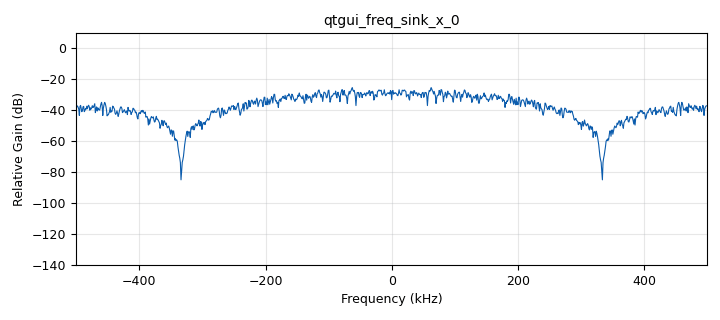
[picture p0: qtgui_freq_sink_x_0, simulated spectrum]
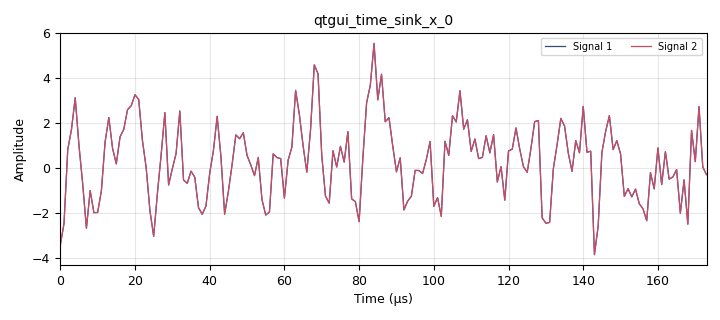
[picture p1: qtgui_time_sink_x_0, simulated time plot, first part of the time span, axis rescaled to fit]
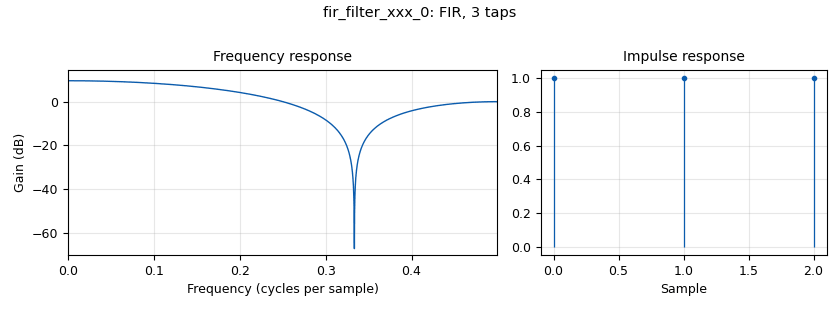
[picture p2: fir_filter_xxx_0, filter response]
options:
  parameters:
    author: jkita
    generate_options: qt_gui
    id: lesson6
    output_language: python
    title: Not titled yet
  states: {}

blocks:
- name: center_freq
  id: variable
  parameters:
    value: 433.96e6
  states: {state: disabled}
- name: cutoff
  id: variable_qtgui_range
  parameters:
    min_len: '1000'
    start: samp_rate/1000
    step: '1'
    stop: samp_rate/2
    value: samp_rate/8
  states: {state: disabled}
- name: samp_rate
  id: variable
  parameters:
    value: 1e6
  states: {}
- name: tap0
  id: variable_qtgui_range
  parameters:
    min_len: '1000'
    start: '-1'
    step: '0.01'
    stop: '1'
    value: '1'
  states: {}
- name: tap1
  id: variable_qtgui_range
  parameters:
    min_len: '1000'
    start: '-1'
    step: '0.01'
    stop: '1'
    value: '1'
  states: {}
- name: tap2
  id: variable_qtgui_range
  parameters:
    min_len: '1000'
    start: '-1'
    step: '0.01'
    stop: '1'
    value: '1'
  states: {}
- name: transision
  id: variable_qtgui_range
  parameters:
    min_len: '1000'
    start: samp_rate/1000
    step: '1'
    stop: samp_rate/2
    value: samp_rate/8
  states: {state: disabled}
- name: analog_noise_source_x_0
  id: analog_noise_source_x
  parameters:
    amp: '1'
    noise_type: analog.GR_GAUSSIAN
    seed: '0'
    type: float
  states: {}
- name: blocks_add_xx_0
  id: blocks_add_xx
  parameters:
    num_inputs: '3'
    type: float
  states: {}
- name: blocks_delay_0
  id: blocks_delay
  parameters:
    delay: '1'
    type: float
  states: {}
- name: blocks_delay_0_0
  id: blocks_delay
  parameters:
    delay: '2'
    type: float
  states: {}
- name: blocks_multiply_const_vxx_0
  id: blocks_multiply_const_vxx
  parameters:
    const: tap0
    type: float
  states: {}
- name: blocks_multiply_const_vxx_0_0
  id: blocks_multiply_const_vxx
  parameters:
    const: tap1
    type: float
  states: {}
- name: blocks_multiply_const_vxx_0_1
  id: blocks_multiply_const_vxx
  parameters:
    const: tap2
    type: float
  states: {}
- name: blocks_throttle_0
  id: blocks_throttle
  parameters:
    samples_per_second: samp_rate
    type: float
  states: {}
- name: fir_filter_xxx_0
  id: fir_filter_xxx
  parameters:
    decim: '1'
    taps: (tap0, tap1, tap2)
    type: fff
  states: {}
- name: low_pass_filter_0
  id: low_pass_filter
  parameters:
    cutoff_freq: cutoff
    decim: '1'
    gain: '1'
    samp_rate: samp_rate
    type: fir_filter_ccf
    width: transision
    win: window.WIN_HAMMING
  states: {state: disabled}
- name: qtgui_freq_sink_x_0
  id: qtgui_freq_sink_x
  parameters:
    average: '0.2'
    bw: samp_rate
    ctrlpanel: 'True'
    fc: '0'
    fftsize: '1024'
    grid: 'True'
    type: float
  states: {}
- name: qtgui_time_sink_x_0
  id: qtgui_time_sink_x
  parameters:
    ctrlpanel: 'True'
    grid: 'True'
    nconnections: '2'
    size: '1024'
    srate: samp_rate
    type: float
  states: {}

connections:
- [analog_noise_source_x_0, '0', blocks_throttle_0, '0']
- [blocks_add_xx_0, '0', qtgui_freq_sink_x_0, '0']
- [blocks_add_xx_0, '0', qtgui_time_sink_x_0, '0']
- [blocks_delay_0, '0', blocks_multiply_const_vxx_0_0, '0']
- [blocks_delay_0_0, '0', blocks_multiply_const_vxx_0_1, '0']
- [blocks_multiply_const_vxx_0, '0', blocks_add_xx_0, '0']
- [blocks_multiply_const_vxx_0_0, '0', blocks_add_xx_0, '1']
- [blocks_multiply_const_vxx_0_1, '0', blocks_add_xx_0, '2']
- [blocks_throttle_0, '0', blocks_delay_0, '0']
- [blocks_throttle_0, '0', blocks_delay_0_0, '0']
- [blocks_throttle_0, '0', blocks_multiply_const_vxx_0, '0']
- [blocks_throttle_0, '0', fir_filter_xxx_0, '0']
- [fir_filter_xxx_0, '0', qtgui_time_sink_x_0, '1']

metadata:
  file_format: 1
  grc_version: 3.10.5.1
